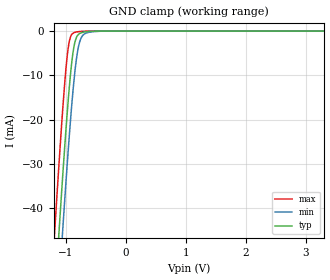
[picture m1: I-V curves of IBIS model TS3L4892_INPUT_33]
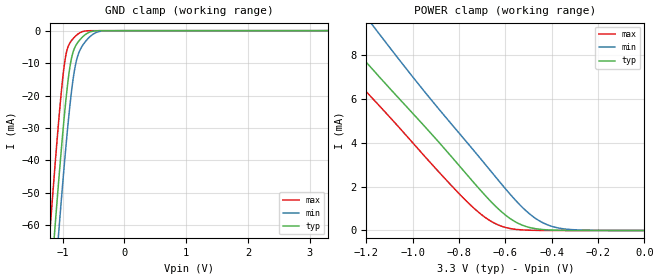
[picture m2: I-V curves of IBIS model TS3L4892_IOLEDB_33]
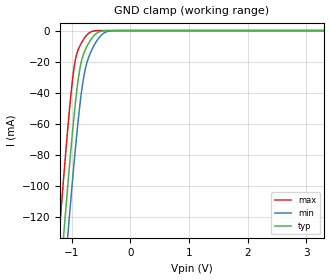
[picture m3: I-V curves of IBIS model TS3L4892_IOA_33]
| TEXAS INSTRUMENTS INCORPORATED
| Standard Linear and Logic Group
| IBIS Model of TS3L4892
| 16-Bit 10 8-Bit SPDT Gigabit Lan Switch With LED Switch
| This file contains package information for the following:
|  QFN 36-pin (RHH) package as [Component] TS3L4892_RHH
| This device can be powered at the following Vccs:
|  3.3 volt Vcc
| This file provides unique models under the [Model Selector] for each Vcc.
| For operation at a specific Vcc, select the appropriate model after each
| [Model Selector] keyword.
[IBIS Ver]   3.2
[Comment char]  |_char
[File Name]   ts3l4892.ibs
[File Rev]   1.1 | x_die
[Date]   November 4, 2008
[Source]   Data created from TI-SPICE simulations at TI-SLL.
[Notes]   The following is an IBIS list for the SN74TS3L4892.
   Please contact sllibis@ti.com with questions and
   comments concerning SLL IBIS models.
   - FILE REV HISTORY
   - 1.1 Release IBIS file on 11/05/08
   - Power clamp data deleted was deleted as there is no
   power-clamp diode.
   - Non-monotonic data due to FET characteristics.
[Disclaimer] Property of Texas Instruments Incorporated.  Unauthorized
                reproduction and/or distribution is strictly prohibited.
                This product is protected under copyright law.
                Created  2008, (C) Copyright  2008, Texas Instruments
                Incorporated, All Rights Reserved
                UNLESS THERE IS A SIGNED, WRITTEN AGREEMENT TO THE
                CONTRARY, TEXAS INSTRUMENTS (TI) IS PROVIDING THE IBIS
                MODELS  AND WITHOUT ANY WARRANTY, EXPRESSED OR
                IMPLIED.  TI assumes no liability for:
                 1) the accuracy of the IBIS models provided to your
                    company;
                 2) the proper functioning of these IBIS Models in your
                    design or for any resulting applications; or
                 3) infringement of patents, copyrights or intellectual
                    property rights resulting from your use of these IBIS
                    models.
                TI provides IBIS Models as a service to our customers.
                You and your company shall not distribute, sell or give
                these models to anyone else without prior written
                permission from TI.
                TI reserves the right to make changes to our products or
                to discontinue any semiconductor product or service
                without notice, and advises our customers to obtain the
                latest version of relevant information to verify, before
                placing orders, that the information being relied on is
                current.
                Please be aware that your receipt and use of the IBIS
                information provided shall serve as acceptance of these
                terms and conditions.  If you do not accept these terms,
                you should return or destroy the IBIS models and any
                other accompanying information immediately.
| Component TS3L4892_RHH 36-PIN QFN
[Component]   TS3L4892_RHH
[Manufacturer]   Texas Instruments, Inc.
[Package]
|   typ   min   max
R_pkg   7.800e-02   1.000e-03   9.600e-02
L_pkg   2.086e-09   1.110e-10   2.529e-09
C_pkg   2.440e-13   9.400e-14   2.970e-13
[Pin]   signal_name   model_name   R_pin   L_pin   C_pin
1   1A   TS3L4892_IOA_33   9.500e-02   2.497e-09   2.640e-13
2   2A   TS3L4892_IOA_33   8.900e-02   2.321e-09   2.220e-13
3   3A   TS3L4892_IOA_33   8.400e-02   2.255e-09   2.740e-13
4   0LED   TS3L4892_IOLEDA_33   8.100e-02   2.179e-09   2.570e-13
5   0LED1   TS3L4892_IOLEDB_33   7.900e-02   2.060e-09   1.980e-13
6   0LED2   TS3L4892_IOLEDB_33   8.100e-02   2.179e-09   2.570e-13
7   4A   TS3L4892_IOA_33   8.400e-02   2.255e-09   2.740e-13
8   5A   TS3L4892_IOA_33   8.900e-02   2.321e-09   2.220e-13
9   6A   TS3L4892_IOA_33   9.500e-02   2.497e-09   2.610e-13
10   7A   TS3L4892_IOA_33   9.100e-02   2.420e-09   2.740e-13
11   GND   GND   7.400e-02   1.965e-09   2.250e-13
12   1LED   TS3L4892_IOLEDA_33   6.900e-02   1.828e-09   2.160e-13
13   1LED1   TS3L4892_IOLEDB_33   6.600e-02   1.839e-09   2.780e-13
14   1LED2   TS3L4892_IOLEDB_33   6.300e-02   1.682e-09   1.990e-13
15   7B2   TS3L4892_IOB_33   6.600e-02   1.845e-09   2.790e-13
16   6B2   TS3L4892_IOB_33   6.900e-02   1.839e-09   2.160e-13
17   7B1   TS3L4892_IOB_33   7.600e-02   2.013e-09   2.270e-13
18   6B1   TS3L4892_IOB_33   8.600e-02   2.311e-09   2.690e-13
19   5B2   TS3L4892_IOB_33   9.600e-02   2.529e-09   2.560e-13
20   4B2   TS3L4892_IOB_33   9.000e-02   2.350e-09   2.220e-13
21   5B1   TS3L4892_IOB_33   8.500e-02   2.279e-09   2.740e-13
22   4B1   TS3L4892_IOB_33   8.200e-02   2.197e-09   2.570e-13
23   3B2   TS3L4892_IOB_33   7.900e-02   2.071e-09   1.970e-13
24   2B2   TS3L4892_IOB_33   8.100e-02   2.181e-09   2.560e-13
25   3B1   TS3L4892_IOB_33   8.400e-02   2.248e-09   2.720e-13
26   2B1   TS3L4892_IOB_33   8.800e-02   2.307e-09   2.190e-13
27   SEL   TS3L4892_INPUT_33   8.900e-02   2.348e-09   2.510e-13
28   1B2   TS3L4892_IOB_33   8.500e-02   2.293e-09   2.810e-13
29   0B2   TS3L4892_IOB_33   7.600e-02   2.012e-09   2.340e-13
30   1B1   TS3L4892_IOB_33   6.900e-02   1.839e-09   2.180e-13
31   0B1   TS3L4892_IOB_33   6.600e-02   1.845e-09   2.940e-13
32   2LED2   TS3L4892_IOLEDB_33   1.000e-03   1.110e-10   9.400e-14
33   2LED1   TS3L4892_IOLEDB_33   6.600e-02   1.839e-09   2.940e-13
34   2LED   TS3L4892_IOLEDA_33   6.900e-02   1.828e-09   2.180e-13
35   VCC   POWER   7.800e-02   2.073e-09   2.400e-13
36   0A   TS3L4892_IOA_33   9.100e-02   2.445e-09   2.970e-13
[Series Switch Groups]
| Function Group States
On  1 /   | 0A-7A->0B1-7B1 SEL1 LOW
   | 0B1-7B1->0A-7A SEL1 LOW
On  2 /   | 0LED->0LED1 SEL1 LOW
   | 0LED1->0LED SEL1 LOW
On  3 /   | 1LED->1LED1 SEL2 LOW
   | 1LED1->1LED SEL2 LOW
On  4 /   | 2LED->2LED1 SEL2 LOW
   | 2LED1->2LED SEL2 LOW
On  5 /   | 0A-7A->0B2-7B2 SEL1 HIGH
   | 0B2-7B2->0A-7A SEL1 HIGH
On  6 /   | 0LED->0LED2 SEL1 HIGH
   | 0LED2->0LED SEL1 HIGH
On  7 /   | 1LED->1LED2 SEL1 HIGH
   | 1LED2->1LED SEL1 HIGH
On  8 /   | 2LED->2LED2 SEL1 HIGH
   | 2LED2->2LED SEL1 HIGH
[Series Pin Mapping]   pin_2   model_name   function_table_group
36   31   TS3L4892_IOA_33_S   1
1   30   TS3L4892_IOA_33_S   1
2   26   TS3L4892_IOA_33_S   1
3   25   TS3L4892_IOA_33_S   1
7   22   TS3L4892_IOA_33_S   1
8   21   TS3L4892_IOA_33_S   1
9   18   TS3L4892_IOA_33_S   1
10   17   TS3L4892_IOA_33_S   1
31   36   TS3L4892_IOB_33_S   1
30   1   TS3L4892_IOB_33_S   1
26   2   TS3L4892_IOB_33_S   1
25   3   TS3L4892_IOB_33_S   1
22   7   TS3L4892_IOB_33_S   1
21   8   TS3L4892_IOB_33_S   1
18   9   TS3L4892_IOB_33_S   1
17   10   TS3L4892_IOB_33_S   1
4   5   TS3L4892_IOLEDA_33_S   2
5   4   TS3L4892_IOLEDB_33_S   2
12   13   TS3L4892_IOLEDA_33_S   3
13   12   TS3L4892_IOLEDB_33_S   3
34   33   TS3L4892_IOLEDA_33_S   4
33   34   TS3L4892_IOLEDB_33_S   4
36   29   TS3L4892_IOA_33_S   5
1   28   TS3L4892_IOA_33_S   5
2   24   TS3L4892_IOA_33_S   5
3   23   TS3L4892_IOA_33_S   5
7   20   TS3L4892_IOA_33_S   5
8   19   TS3L4892_IOA_33_S   5
9   16   TS3L4892_IOA_33_S   5
10   15   TS3L4892_IOA_33_S   5
29   36   TS3L4892_IOB_33_S   5
28   1   TS3L4892_IOB_33_S   5
24   2   TS3L4892_IOB_33_S   5
23   3   TS3L4892_IOB_33_S   5
20   7   TS3L4892_IOB_33_S   5
19   8   TS3L4892_IOB_33_S   5
16   9   TS3L4892_IOB_33_S   5
15   10   TS3L4892_IOB_33_S   5
4   6   TS3L4892_IOLEDA_33_S   6
6   4   TS3L4892_IOLEDB_33_S   6
12   14   TS3L4892_IOLEDA_33_S   7
14   12   TS3L4892_IOLEDB_33_S   7
34   32   TS3L4892_IOLEDA_33_S   8
32   34   TS3L4892_IOLEDB_33_S   8
[Model]   TS3L4892_IOLEDB_33_S
Model_type  Series_switch
| variable   typ   min   max
C_comp   0   0   0
[Temperature Range]   40   100   -40
| Ambient temperature   25   85   -40
[Voltage range]   3.3   3   3.6
[On]
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[Off]
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[Model]   TS3L4892_IOA_33_S
Model_type  Series_switch
| variable   typ   min   max
C_comp   0   0   0
[Temperature Range]   40   100   -40
| Ambient temperature   25   85   -40
[Voltage range]   3.3   3   3.6
[On]
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[Off]
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[Model]   TS3L4892_IOLEDA_33_S
Model_type  Series_switch
| variable   typ   min   max
C_comp   0   0   0
[Temperature Range]   40   100   -40
| Ambient temperature   25   85   -40
[Voltage range]   3.3   3   3.6
[On]
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[Off]
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[Model]   TS3L4892_IOB_33_S
Model_type  Series_switch
| variable   typ   min   max
C_comp   0   0   0
[Temperature Range]   40   100   -40
| Ambient temperature   25   85   -40
[Voltage range]   3.3   3   3.6
[On]
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[Off]
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| Models and submodels in the file (9): TS3L4892_INPUT_33 (Input), TS3L4892_IOLEDB_33_S (Series_switch), TS3L4892_IOLEDB_33 (Terminator), TS3L4892_IOA_33_S (Series_switch), TS3L4892_IOA_33 (Terminator), TS3L4892_IOLEDA_33_S (Series_switch), TS3L4892_IOLEDA_33 (Terminator), TS3L4892_IOB_33_S (Series_switch), TS3L4892_IOB_33 (Terminator)
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| Model TS3L4892_INPUT
| Model TS3L4892_IOLEDB
| Model TS3L4892_IOLEDB_S
| Model TS3L4892_IOA
| Model TS3L4892_IOA_S
| Model TS3L4892_IOLEDA
| Model TS3L4892_IOLEDA_S
| Model TS3L4892_IOB
| Model TS3L4892_IOB_S
[Model]   TS3L4892_INPUT_33
Model_type  Input
Vinl=0.8
Vinh=2.0
| variable   typ   min   max
C_comp   1.09pF   0.73pF   1.33pF
[Temperature Range]   40   100   -40
| Ambient temperature   25   85   -40
[Voltage range]   3.3   3   3.6
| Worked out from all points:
|   GND clamp passes 1 mA (typ) near -0.81 V on its own axis
[GND Clamp]
| TS3L4892_INPUT_33
|   Voltage   I(typ)   I(min)   I(max)
-3.3V     -559.2mA   -570mA     -546.4mA
-1.2V     -63.91mA   -76.42mA   -48.38mA
-1.18V    -59.55mA   -72.05mA   -44.01mA
-1.11V    -44.57mA   -57.01mA   -29.16mA
-1.05V    -32.27mA   -44.5mA    -17.33mA
-960mV    -15.59mA   -26.89mA   -3.818mA
-920mV    -9.487mA   -19.78mA   -1.266mA
-870mV    -3.981mA   -11.97mA   -406.9uA
-820mV    -1.358mA   -6.004mA   -196.5uA
-770mV    -544.2uA   -2.483mA   -100.9uA
-605mV    -70.11uA   -245.7uA   -5.516uA
3.3V      158.3pA    34.53nA    40.78pA
[Model]   TS3L4892_IOLEDB_33
Model_type  Terminator
| variable   typ   min   max
C_comp   2.84pF   2.46pF   3.12pF
| C_tri-state   2.84pF   2.46pF   3.12pF
[Temperature Range]   40   100   -40
| Ambient temperature   25   85   -40
[Voltage range]   3.3   3   3.6
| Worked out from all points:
|   GND clamp passes 1 mA (typ) near -0.62 V on its own axis
|   POWER clamp passes 1 mA (typ) near -0.63 V on its own axis
[GND Clamp]
| TS3L4892_IOLEDB_33
|   Voltage   I(typ)   I(min)   I(max)
-3.3V     -663.6mA   -677.1mA   -650.2mA
-1.21V    -82.09mA   -98.52mA   -62.97mA
-1.13V    -62.14mA   -78.4mA    -43.15mA
-1.055V   -44.26mA   -60.17mA   -25.87mA
-1V       -31.99mA   -47.38mA   -14.91mA
-950mV    -21.9mA    -36.38mA   -7.762mA
-885mV    -11.54mA   -23.55mA   -3.859mA
-825mV    -6.245mA   -14.2mA    -2.33mA
-710mV    -2.568mA   -5.631mA   -540.7uA
-530mV    -243.9uA   -1.396mA   -4.641uA
-320mV    -1.314uA   -45.58uA   -1.134nA
3.3V      1.422nA    28.92uA    43.28pA
[POWER Clamp]
| TS3L4892_IOLEDB_33
|   Voltage   I(typ)   I(min)   I(max)
-3.3V     35.58mA    37.81mA    37.34mA
-1.435V   10.55mA    13.14mA    9.175mA
-1.335V   9.329mA    11.67mA    7.927mA
-1.3V     8.903mA    11.17mA    7.507mA
-1.185V   7.515mA    9.557mA    6.176mA
-1.145V   7.041mA    9.003mA    5.72mA
-735mV    2.177mA    3.643mA    1.015mA
-645mV    1.14mA     2.489mA    324.5uA
-560mV    416.1uA    1.43mA     58.24uA
-470mV    82.12uA    554.6uA    5.784uA
-390mV    14.55uA    160.6uA    578.2nA
0V        0A         0A         0A
[Model]   TS3L4892_IOA_33
Model_type  Terminator
| variable   typ   min   max
C_comp   6.16pF   5.62pF   6.85pF
| C_tri-state   6.16pF   5.62pF   6.85pF
[Temperature Range]   40   100   -40
| Ambient temperature   25   85   -40
[Voltage range]   3.3   3   3.6
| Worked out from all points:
|   GND clamp passes 1 mA (typ) near -0.54 V on its own axis
[GND Clamp]
| TS3L4892_IOA_33
|   Voltage   I(typ)   I(min)   I(max)
-3.3V     -1.274A    -1.293A    -1.263A
-1.225V   -172mA     -204.9mA   -134.9mA
-1.2V     -160mA     -192.9mA   -122.8mA
-1.14V    -131.6mA   -164.4mA   -94.38mA
-1.06V    -95.23mA   -127.4mA   -58.74mA
-945mV    -48.41mA   -77.9mA    -19.81mA
-875mV    -27.17mA   -51.7mA    -10.73mA
-805mV    -15.53mA   -31.5mA    -5.901mA
-675mV    -5.775mA   -13.61mA   -846uA
-515mV    -557.5uA   -3.648mA   -8.562uA
-350mV    -9.572uA   -260.6uA   -13.01nA
3.3V      4.272nA    414.7nA    3.367nA
